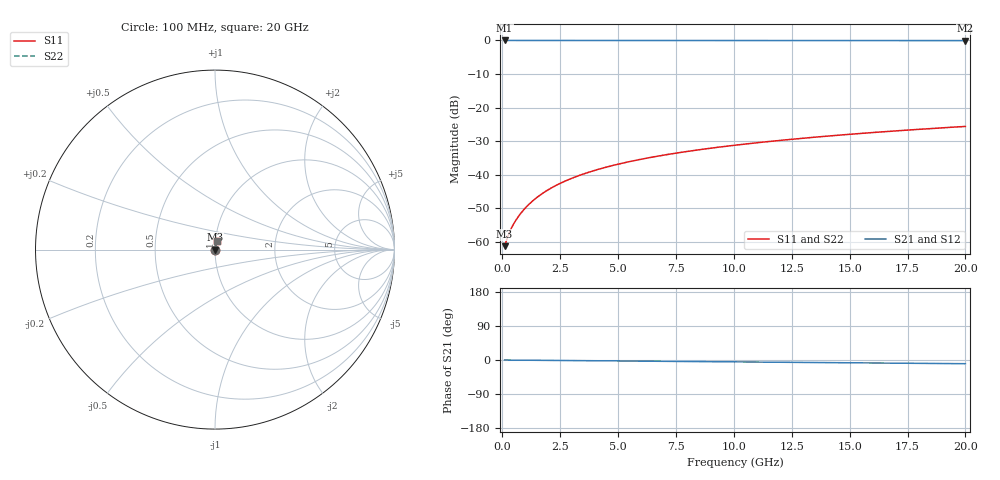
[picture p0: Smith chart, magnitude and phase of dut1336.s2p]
! Touchstone file exported from HFSS 2026.1.0
!  File:  C:/ffzhzh/LocalFiles/Ansys_Project_Files/temp_train_BSMRDL_1336_1783178773_43440.aedt
!  Generated:  11:27:26 PM Jul  4, 2026
!  Design:  BSMRDL
!  Project:  temp_train_BSMRDL_1336_1783178773_43440
! Variables:
!  h_bsmrdl = 4.29um
!  h_ox = 20um
!  h_rdl = 5um
!  h_sub = 80um
!  h_tmrdl = 5um
!  h_tsv = 80um
!  h_via = 3um
!  l_bsmrdl = 148.85um
!  l_sub = 548.85um
!  l_tmrdl = 200um
!  m_sub = 200um
!  pitch = 30.82um
!  r_tsv = 6um
!  s_tmrdl = 10um
!  w_bsmrdl = 21.16um
!  w_sub = 500um
!  w_tmrdl = 12um
!  x_tsv_center1 = 206um
!  x_tsv_center2 = 376.01um
!  x_tsv_center3 = 588.01um
!  x_tsv_center4 = 758.02um
!  x_tsv_center5 = 970.02um
!  x_tsv_center6 = 1140.03um
# GHz S MA R 50.000000
! Terminal data exported
! Port[1] = BSM_RDL1_1_T1
! Port[2] = BSM_RDL1_1_T2
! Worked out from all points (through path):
!   200 points, 100 MHz to 20 GHz, reference 50 ohm
!   highest |S21| = -0.01 dB at 100 MHz (marker M1); lowest = 0.0 dB at 20 GHz (marker M2)
!   group delay of S21, straight-line fit = 1.35 ps
!   lowest |S11| = -61.3 dB at 100 MHz (marker M3), VSWR 1.00, Z = 50.1 + j0.0383 ohm
!   |S11| at or under -10 dB: start of sweep to end of sweep
!   |S22| runs from -61.3 to -25.6 dB; largest |S21 - S12| = 2e-15
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0.1  0.0008608 26.3  0.9992 -0.1  0.9992 -0.1  0.0008608 26.3
! Gamma 0 0 0 0
! Port Impedance 50 0 50 0
0.2  0.001104 40.9  0.9992 -0.1  0.9992 -0.1  0.001104 40.9
0.3  0.001363 49.0  0.9991 -0.2  0.9991 -0.2  0.001363 49.0
0.4  0.001618 54.4  0.9991 -0.2  0.9991 -0.2  0.001618 54.4
0.5  0.001873 58.6  0.999 -0.3  0.999 -0.3  0.001873 58.6
0.6  0.00213 61.9  0.999 -0.3  0.999 -0.3  0.00213 61.9
0.8  0.002658 66.8  0.999 -0.4  0.999 -0.4  0.002658 66.8
1  0.003201 70.2  0.9989 -0.5  0.9989 -0.5  0.003201 70.2
1.2  0.003754 72.6  0.9989 -0.6  0.9989 -0.6  0.003754 72.6
1.4  0.004314 74.3  0.9989 -0.7  0.9989 -0.7  0.004314 74.3
1.7  0.00516 76.2  0.9988 -0.9  0.9988 -0.9  0.00516 76.2
2.2  0.006577 78.0  0.9987 -1.1  0.9987 -1.1  0.006577 78.0
2.8  0.008271 79.1  0.9986 -1.4  0.9986 -1.4  0.008271 79.1
3.5  0.01023 79.7  0.9984 -1.8  0.9984 -1.8  0.01023 79.7
4.2  0.01216 80.0  0.9983 -2.1  0.9983 -2.1  0.01216 80.0
5  0.01433 80.0  0.998 -2.5  0.998 -2.5  0.01433 80.0
6.8  0.01911 79.8  0.9975 -3.4  0.9975 -3.4  0.01911 79.8
8.3  0.02301 79.4  0.9971 -4.1  0.9971 -4.1  0.02301 79.4
10.1  0.02762 78.9  0.9967 -5.0  0.9967 -5.0  0.02762 78.9
13.4  0.03595 77.9  0.9959 -6.6  0.9959 -6.6  0.03595 77.9
16.7  0.04419 76.8  0.9952 -8.2  0.9952 -8.2  0.04419 76.8
20  0.05233 75.6  0.9944 -9.8  0.9944 -9.8  0.05233 75.6
